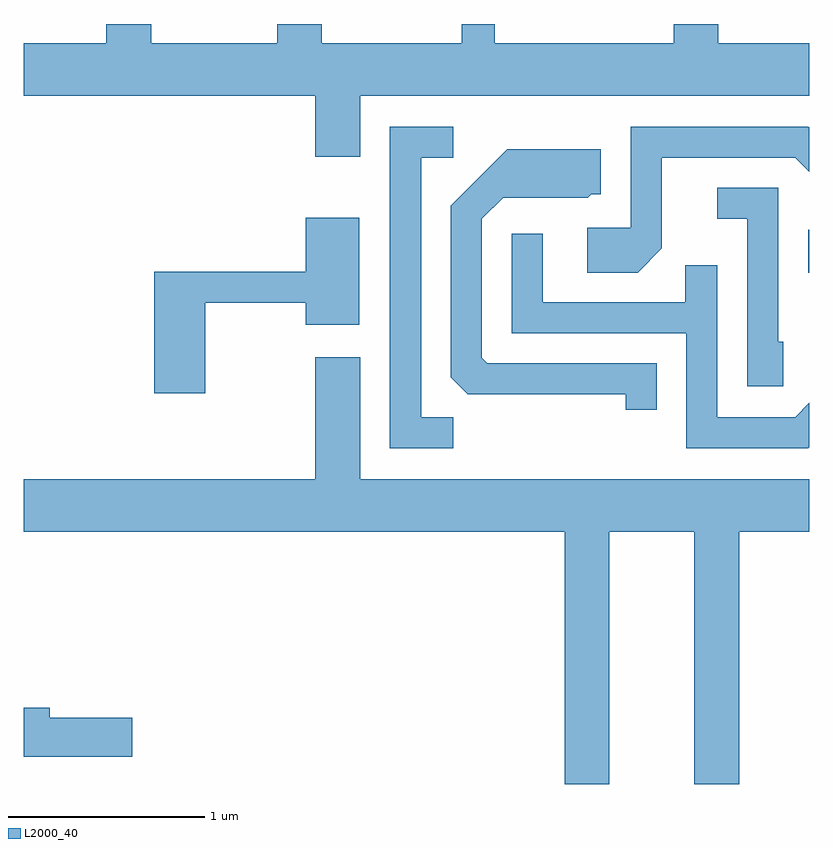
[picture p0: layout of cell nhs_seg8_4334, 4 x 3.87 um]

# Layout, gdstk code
import gdstk
lib = gdstk.Library(unit=1e-6, precision=1e-09)
def R(c, l, rs):  # rectangles x0, y0, x1, y1
    for r in rs: c.add(gdstk.rectangle(r[:2], r[2:], *l))
def P(c, l, *ps):  # polygons
    for p in ps: c.add(gdstk.Polygon(p, *l))
L2000_40 = (2000, 40)

nhs_seg8_4334 = lib.new_cell('nhs_seg8_4334')
R(nhs_seg8_4334, L2000_40, [(319.606,1831.076,319.611,1831.294)])
P(nhs_seg8_4334, L2000_40, [(319.611,1832.244),(319.149,1832.244),(319.149,1832.342),(318.921,1832.342),(318.921,1832.244),(318.009,1832.244),(318.009,1832.342),(317.841,1832.342),(317.841,1832.244),(317.129,1832.244),(317.129,1832.342),(316.901,1832.342),(316.901,1832.244),(316.259,1832.244),(316.259,1832.342),(316.031,1832.342),(316.031,1832.244),(315.611,1832.244),(315.611,1831.976),(317.096,1831.976),(317.096,1831.666),(317.324,1831.666),(317.324,1831.976),(319.611,1831.976)],
  [(318.859,1831.199),(318.859,1831.661),(319.539,1831.661),(319.611,1831.589),(319.611,1831.815),(319.607,1831.819),(318.701,1831.819),(318.701,1831.304),(318.481,1831.304),(318.481,1831.076),(318.737,1831.076)],
  [(317.798,1830.339),(317.634,1830.339),(317.634,1831.661),(317.798,1831.661),(317.798,1831.819),(317.476,1831.819),(317.476,1830.181),(317.798,1830.181)],
  [(318.834,1830.614),(317.972,1830.614),(317.944,1830.642),(317.944,1831.349),(318.052,1831.456),(318.482,1831.456),(318.502,1831.476),(318.549,1831.476),(318.549,1831.704),(318.074,1831.704),(317.786,1831.417),(317.786,1830.542),(317.872,1830.456),(318.676,1830.456),(318.676,1830.378),(318.834,1830.378)],
  [(319.479,1830.724),(319.454,1830.724),(319.454,1831.509),(319.143,1831.509),(319.143,1831.351),(319.296,1831.351),(319.296,1830.496),(319.479,1830.496)],
  [(316.534,1830.921),(317.046,1830.921),(317.046,1830.811),(317.319,1830.811),(317.319,1831.354),(317.046,1831.354),(317.046,1831.079),(316.276,1831.079),(316.276,1830.461),(316.534,1830.461)],
  [(319.611,1830.185),(319.611,1830.412),(319.539,1830.339),(319.144,1830.339),(319.144,1831.113),(318.981,1831.113),(318.981,1830.924),(318.254,1830.924),(318.254,1831.273),(318.096,1831.273),(318.096,1830.766),(318.986,1830.766),(318.986,1830.181),(319.607,1830.181)],
  [(318.594,1829.756),(319.026,1829.756),(319.026,1828.471),(319.254,1828.471),(319.254,1829.756),(319.611,1829.756),(319.611,1830.024),(317.324,1830.024),(317.324,1830.644),(317.096,1830.644),(317.096,1830.024),(315.611,1830.024),(315.611,1829.756),(318.366,1829.756),(318.366,1828.471),(318.594,1828.471)],
  [(316.164,1828.809),(315.744,1828.809),(315.744,1828.859),(315.611,1828.859),(315.611,1828.611),(316.164,1828.611)])

lib.write_gds('nhs_seg8_4334.gds')
